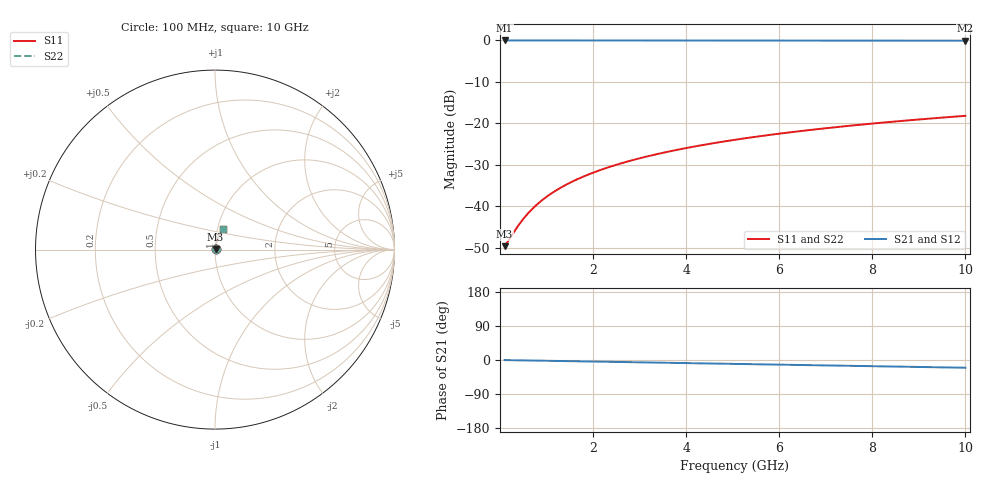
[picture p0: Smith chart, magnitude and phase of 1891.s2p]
# Hz S RI R 50.00
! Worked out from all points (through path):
!   100 points, 100 MHz to 10 GHz, reference 50 ohm
!   highest |S21| = -0.03 dB at 100 MHz (marker M1); lowest = -0.1 dB at 10 GHz (marker M2)
!   group delay of S21, straight-line fit = 5.67 ps
!   lowest |S11| = -49.6 dB at 100 MHz (marker M3), VSWR 1.01, Z = 50.3 + j0.126 ohm
!   |S11| at or under -10 dB: start of sweep to end of sweep
!   |S22| runs from -49.6 to -18.2 dB; largest |S21 - S12| = 0
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1e8  0.00305 0.00125  0.9969 -0.00355  0.9969 -0.00355  0.00305 0.00125
2e8  0.00308 0.00249  0.9969 -0.00711  0.9969 -0.00711  0.00308 0.00249
3e8  0.00312 0.00374  0.9969 -0.0107  0.9969 -0.0107  0.00312 0.00374
4e8  0.00316 0.00499  0.9968 -0.0142  0.9968 -0.0142  0.00316 0.00499
5e8  0.00321 0.00623  0.9967 -0.0178  0.9967 -0.0178  0.00321 0.00623
6e8  0.00327 0.00748  0.9966 -0.0213  0.9966 -0.0213  0.00327 0.00748
7e8  0.00333 0.00873  0.9965 -0.0249  0.9965 -0.0249  0.00333 0.00873
8e8  0.00341 0.00997  0.9964 -0.0284  0.9964 -0.0284  0.00341 0.00997
1e9  0.00358 0.0125  0.9961 -0.0355  0.9961 -0.0355  0.00358 0.0125
1.2e9  0.00378 0.0149  0.9958 -0.0426  0.9958 -0.0426  0.00378 0.0149
1.5e9  0.00416 0.0187  0.9952 -0.0533  0.9952 -0.0533  0.00416 0.0187
1.8e9  0.00461 0.0224  0.9945 -0.0639  0.9945 -0.0639  0.00461 0.0224
2.1e9  0.00514 0.0261  0.9936 -0.0745  0.9936 -0.0745  0.00514 0.0261
2.5e9  0.00597 0.031  0.9923 -0.0887  0.9923 -0.0887  0.00597 0.031
2.9e9  0.00693 0.0359  0.9908 -0.1028  0.9908 -0.1028  0.00693 0.0359
3.4e9  0.00834 0.0419  0.9885 -0.1204  0.9885 -0.1204  0.00834 0.0419
4.2e9  0.011 0.0515  0.9842 -0.1485  0.9842 -0.1485  0.011 0.0515
5.1e9  0.0147 0.0621  0.9782 -0.1799  0.9782 -0.1799  0.0147 0.0621
5.9e9  0.0185 0.0713  0.972 -0.2075  0.972 -0.2075  0.0185 0.0713
6.7e9  0.0229 0.0802  0.9649 -0.2349  0.9649 -0.2349  0.0229 0.0802
8.4e9  0.0337 0.0983  0.9471 -0.2922  0.9471 -0.2922  0.0337 0.0983
1e10  0.0459 0.114  0.9269 -0.3448  0.9269 -0.3448  0.0459 0.114
